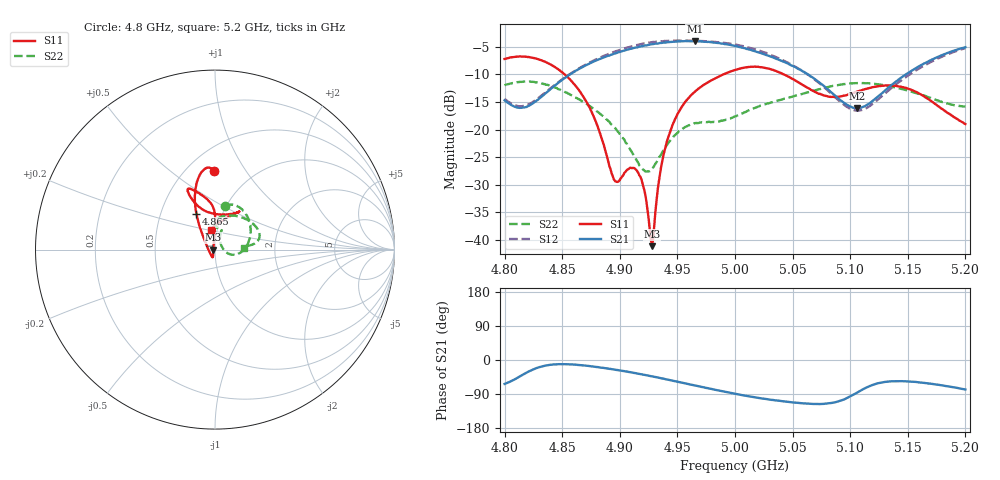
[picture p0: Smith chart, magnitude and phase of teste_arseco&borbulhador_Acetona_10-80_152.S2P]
! Network Analyzer HP8722D
! Hewlett-Packard
! Data name: Linha & Wilkinson
! Saver's name: Rodrigo Anjos
! Comments: Teste da utilização de aquisição
! continua pelo VNA HP8722D
! Time and date: 25/4/2025 16:32
!  Frequency  S11  S21  S12  S22
# HZ  S  MA R 50
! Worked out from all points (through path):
!   401 points, 4.8 GHz to 5.2 GHz, reference 50 ohm
!   highest |S21| = -3.98 dB at 4.965 GHz (marker M1); lowest = -16.1 dB at 5.106 GHz (marker M2)
!   lowest |S11| = -41.1 dB at 4.928 GHz (marker M3), VSWR 1.02, Z = 49.1 + j0.0434 ohm
!   |S11| at or under -10 dB: 4.852 GHz to 4.99 GHz (138.1 MHz wide, 2.81 % of centre); 5.042 GHz to end of sweep
!   |S22| runs from -27.6 to -11.3 dB; largest |S21 - S12| = 1.2
!   S11 on the Smith chart (normalised r, x): 4.8 GHz: 0.68, +0.73; 4.865 GHz: 0.76, +0.32; 5.2 GHz: 0.93, +0.21
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4.8e9  0.4356 90.6  0.1841 -63.1  0.1892 70.3  0.2508 77.2
4.82e9  0.4537 96.9  0.1625 -31.6  0.1681 99.1  0.272 60.9
4.845e9  0.3599 107.4  0.257 -11.3  0.2605 119.5  0.2387 33.7
4.865e9  0.224 117.4  0.3558 -13.2  0.3604 120.7  0.1873 10.6
4.867e9  0.2085 118.7  0.3646 -14.0  0.3696 120.5  0.1815 8.3
4.88e9  0.112 129.3  0.4243 -18.6  0.4343 118.0  0.1465 -5.5
4.896e9  0.03414 -166.5  0.4885 -25.5  0.509 112.9  0.103 -16.2
4.91e9  0.04499 -109.2  0.5392 -32.8  0.5656 106.9  0.06372 -13.4
4.917e9  0.03846 -106.3  0.5651 -36.7  0.589 103.4  0.0474 0.3
4.921e9  0.02908 -111.0  0.5745 -38.9  0.6017 101.1  0.04296 13.7
4.928e9  0.008815 177.1  0.5923 -43.2  0.6177 96.9  0.04454 42.3
4.934e9  0.03453 101.6  0.6037 -46.9  0.6283 93.0  0.05598 58.7
4.939e9  0.06546 94.2  0.6133 -50.1  0.6342 89.7  0.06786 65.9
4.946e9  0.1115 90.6  0.6232 -54.6  0.6379 85.4  0.08445 70.4
4.965e9  0.2197 91.2  0.6325 -67.2  0.6364 73.2  0.1144 71.3
5e9  0.3463 109.0  0.5724 -89.3  0.5905 50.5  0.1316 88.0
5.031e9  0.3515 115.0  0.4568 -104.8  0.4741 33.1  0.1757 84.3
5.067e9  0.2263 105.3  0.2982 -115.8  0.295 23.7  0.2226 56.7
5.106e9  0.2201 64.8  0.1565 -86.2  0.1485 56.9  0.2629 24.5
5.134e9  0.251 57.5  0.2435 -56.5  0.229 88.7  0.2469 12.1
5.169e9  0.1852 70.3  0.4203 -62.2  0.4038 84.7  0.1945 6.8
5.2e9  0.1123 101.2  0.5565 -77.8  0.5458 69.9  0.1614 3.7
